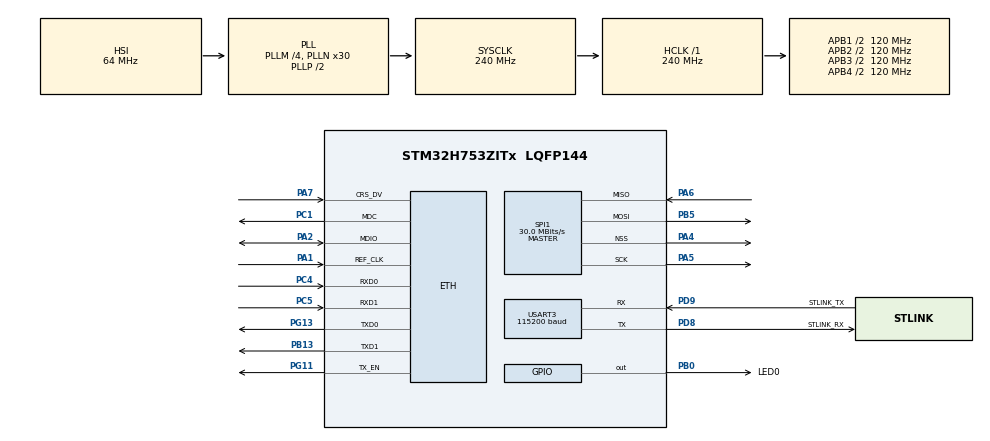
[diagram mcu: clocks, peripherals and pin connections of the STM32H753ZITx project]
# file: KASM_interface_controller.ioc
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CORTEX_M7.AccessPermission_S-Cortex_Memory_Protection_Unit_Region1_Settings_S=MPU_REGION_FULL_ACCESS
CORTEX_M7.AccessPermission_S-Cortex_Memory_Protection_Unit_Region2_Settings_S=MPU_REGION_FULL_ACCESS
CORTEX_M7.AccessPermission_Spec=MPU_REGION_NO_ACCESS
CORTEX_M7.BaseAddress_S-Cortex_Memory_Protection_Unit_Region1_Settings_S=0x30020000
CORTEX_M7.BaseAddress_S-Cortex_Memory_Protection_Unit_Region2_Settings_S=0x30040000
CORTEX_M7.BaseAddress_Spec=0x0
CORTEX_M7.CPU_DCache=Enabled
CORTEX_M7.CPU_ICache=Enabled
CORTEX_M7.DisableExec_S-Cortex_Memory_Protection_Unit_Region1_Settings_S=MPU_INSTRUCTION_ACCESS_DISABLE
CORTEX_M7.DisableExec_S-Cortex_Memory_Protection_Unit_Region2_Settings_S=MPU_INSTRUCTION_ACCESS_DISABLE
CORTEX_M7.DisableExec_Spec=MPU_INSTRUCTION_ACCESS_DISABLE
CORTEX_M7.Enable_S-Cortex_Memory_Protection_Unit_Region10_Settings_S=__NULL
CORTEX_M7.Enable_S-Cortex_Memory_Protection_Unit_Region11_Settings_S=__NULL
CORTEX_M7.Enable_S-Cortex_Memory_Protection_Unit_Region12_Settings_S=__NULL
CORTEX_M7.Enable_S-Cortex_Memory_Protection_Unit_Region13_Settings_S=__NULL
CORTEX_M7.Enable_S-Cortex_Memory_Protection_Unit_Region14_Settings_S=__NULL
CORTEX_M7.Enable_S-Cortex_Memory_Protection_Unit_Region15_Settings_S=__NULL
CORTEX_M7.Enable_S-Cortex_Memory_Protection_Unit_Region1_Settings_S=MPU_REGION_ENABLE
CORTEX_M7.Enable_S-Cortex_Memory_Protection_Unit_Region2_Settings_S=MPU_REGION_ENABLE
CORTEX_M7.Enable_S-Cortex_Memory_Protection_Unit_Region3_Settings_S=__NULL
CORTEX_M7.Enable_S-Cortex_Memory_Protection_Unit_Region4_Settings_S=__NULL
CORTEX_M7.Enable_S-Cortex_Memory_Protection_Unit_Region5_Settings_S=__NULL
CORTEX_M7.Enable_S-Cortex_Memory_Protection_Unit_Region6_Settings_S=__NULL
CORTEX_M7.Enable_S-Cortex_Memory_Protection_Unit_Region7_Settings_S=__NULL
CORTEX_M7.Enable_S-Cortex_Memory_Protection_Unit_Region8_Settings_S=__NULL
CORTEX_M7.Enable_S-Cortex_Memory_Protection_Unit_Region9_Settings_S=__NULL
CORTEX_M7.Enable_Spec=MPU_REGION_ENABLE
CORTEX_M7.IsBufferable_S-Cortex_Memory_Protection_Unit_Region1_Settings_S=MPU_ACCESS_NOT_BUFFERABLE
CORTEX_M7.IsBufferable_S-Cortex_Memory_Protection_Unit_Region2_Settings_S=MPU_ACCESS_BUFFERABLE
CORTEX_M7.IsBufferable_Spec=MPU_ACCESS_NOT_BUFFERABLE
CORTEX_M7.IsCacheable_S-Cortex_Memory_Protection_Unit_Region1_Settings_S=MPU_ACCESS_NOT_CACHEABLE
CORTEX_M7.IsCacheable_S-Cortex_Memory_Protection_Unit_Region2_Settings_S=MPU_ACCESS_NOT_CACHEABLE
CORTEX_M7.IsCacheable_Spec=MPU_ACCESS_NOT_CACHEABLE
CORTEX_M7.IsShareable_S-Cortex_Memory_Protection_Unit_Region1_Settings_S=MPU_ACCESS_NOT_SHAREABLE
CORTEX_M7.IsShareable_S-Cortex_Memory_Protection_Unit_Region2_Settings_S=MPU_ACCESS_SHAREABLE
CORTEX_M7.IsShareable_Spec=MPU_ACCESS_SHAREABLE
CORTEX_M7.MPU_Control=MPU_PRIVILEGED_DEFAULT
CORTEX_M7.Size_S-Cortex_Memory_Protection_Unit_Region1_Settings_S=MPU_REGION_SIZE_128KB
CORTEX_M7.Size_S-Cortex_Memory_Protection_Unit_Region2_Settings_S=MPU_REGION_SIZE_512B
CORTEX_M7.Size_Spec=MPU_REGION_SIZE_4GB
CORTEX_M7.SubRegionDisable_S-Cortex_Memory_Protection_Unit_Region1_Settings_S=0x0
CORTEX_M7.SubRegionDisable_S-Cortex_Memory_Protection_Unit_Region2_Settings_S=0x0
CORTEX_M7.SubRegionDisable_Spec=0x87
CORTEX_M7.TypeExtField_S-Cortex_Memory_Protection_Unit_Region1_Settings_S=MPU_TEX_LEVEL1
CORTEX_M7.TypeExtField_S-Cortex_Memory_Protection_Unit_Region2_Settings_S=MPU_TEX_LEVEL0
CORTEX_M7.TypeExtField_Spec=MPU_TEX_LEVEL0
CORTEX_M7.default_mode_Activation=1
Dma.Request0=SPI1_TX
Dma.Request1=SPI1_RX
Dma.SPI1_RX.1.Direction=DMA_PERIPH_TO_MEMORY
Dma.SPI1_RX.1.EventEnable=DISABLE
Dma.SPI1_RX.1.FIFOMode=DMA_FIFOMODE_ENABLE
Dma.SPI1_RX.1.FIFOThreshold=DMA_FIFO_THRESHOLD_FULL
Dma.SPI1_RX.1.Instance=DMA1_Stream1
Dma.SPI1_RX.1.MemBurst=DMA_MBURST_SINGLE
Dma.SPI1_RX.1.MemDataAlignment=DMA_MDATAALIGN_WORD
Dma.SPI1_RX.1.MemInc=DMA_MINC_ENABLE
Dma.SPI1_RX.1.Mode=DMA_NORMAL
Dma.SPI1_RX.1.PeriphBurst=DMA_PBURST_SINGLE
Dma.SPI1_RX.1.PeriphDataAlignment=DMA_PDATAALIGN_WORD
Dma.SPI1_RX.1.PeriphInc=DMA_PINC_DISABLE
Dma.SPI1_RX.1.Polarity=HAL_DMAMUX_REQ_GEN_RISING
Dma.SPI1_RX.1.Priority=DMA_PRIORITY_LOW
Dma.SPI1_RX.1.RequestNumber=1
Dma.SPI1_RX.1.SignalID=NONE
Dma.SPI1_RX.1.SyncEnable=DISABLE
Dma.SPI1_RX.1.SyncPolarity=HAL_DMAMUX_SYNC_NO_EVENT
Dma.SPI1_RX.1.SyncRequestNumber=1
Dma.SPI1_RX.1.SyncSignalID=NONE
Dma.SPI1_TX.0.Direction=DMA_MEMORY_TO_PERIPH
Dma.SPI1_TX.0.EventEnable=DISABLE
Dma.SPI1_TX.0.FIFOMode=DMA_FIFOMODE_ENABLE
Dma.SPI1_TX.0.FIFOThreshold=DMA_FIFO_THRESHOLD_FULL
Dma.SPI1_TX.0.Instance=DMA1_Stream0
Dma.SPI1_TX.0.MemBurst=DMA_MBURST_SINGLE
Dma.SPI1_TX.0.MemDataAlignment=DMA_MDATAALIGN_WORD
Dma.SPI1_TX.0.MemInc=DMA_MINC_ENABLE
Dma.SPI1_TX.0.Mode=DMA_NORMAL
Dma.SPI1_TX.0.PeriphBurst=DMA_PBURST_SINGLE
Dma.SPI1_TX.0.PeriphDataAlignment=DMA_PDATAALIGN_WORD
Dma.SPI1_TX.0.PeriphInc=DMA_PINC_DISABLE
Dma.SPI1_TX.0.Polarity=HAL_DMAMUX_REQ_GEN_RISING
Dma.SPI1_TX.0.Priority=DMA_PRIORITY_LOW
Dma.SPI1_TX.0.RequestNumber=1
Dma.SPI1_TX.0.SignalID=NONE
Dma.SPI1_TX.0.SyncEnable=DISABLE
Dma.SPI1_TX.0.SyncPolarity=HAL_DMAMUX_SYNC_NO_EVENT
Dma.SPI1_TX.0.SyncRequestNumber=1
Dma.SPI1_TX.0.SyncSignalID=NONE
ETH.ETH_RX_DESC_CNT=4
ETH.ETH_TX_DESC_CNT=4
ETH.MACAddr=00\:80\:E1\:00\:00\:00
ETH.MediaInterface=HAL_ETH_RMII_MODE
ETH.RxBuffLen=1536
ETH.RxBufferAddress=0x30040200
ETH.RxDescAddress=0x30040000
ETH.TxDescAddress=0x30040060
LWIP.API_LIB_DEBUG=LWIP_DBG_OFF
LWIP.API_MSG_DEBUG=LWIP_DBG_OFF
LWIP.ARP_MAXAGE=300
LWIP.ARP_QUEUEING=0
LWIP.ARP_QUEUE_LEN=3
LWIP.ARP_TABLE_SIZE=10
LWIP.AUTOIP_DEBUG=LWIP_DBG_OFF
LWIP.BSP.number=1
LWIP.CBCP_SUPPORT=0
LWIP.CCP_SUPPORT=0
LWIP.CHAP_DEFTIMEOUT=6
LWIP.CHAP_DEFTRANSMITS=10
LWIP.CHAP_SUPPORT=0
LWIP.CHECKSUM_BY_HARDWARE=1
LWIP.CHECKSUM_CHECK_ICMP=1
LWIP.CHECKSUM_CHECK_ICMP6=0
LWIP.CHECKSUM_CHECK_IP=0
LWIP.CHECKSUM_CHECK_TCP=0
LWIP.CHECKSUM_CHECK_UDP=0
LWIP.CHECKSUM_GEN_ICMP=1
LWIP.CHECKSUM_GEN_ICMP6=0
LWIP.CHECKSUM_GEN_IP=0
LWIP.CHECKSUM_GEN_TCP=0
LWIP.CHECKSUM_GEN_UDP=0
LWIP.CMSIS_VERSION-Enabled=1
LWIP.DEFAULT_ACCEPTMBOX_SIZE=6
LWIP.DEFAULT_RAW_RECVMBOX_SIZE=0
LWIP.DEFAULT_TCP_RECVMBOX_SIZE=6
LWIP.DEFAULT_THREAD_NAME="lwIP"
LWIP.DEFAULT_THREAD_PRIO=3
LWIP.DEFAULT_THREAD_STACKSIZE=1024
LWIP.DEFAULT_UDP_RECVMBOX_SIZE=6
LWIP.DEMAND_SUPPORT=0
LWIP.DHCP6_DEBUG=LWIP_DBG_OFF
LWIP.DHCP_DEBUG=LWIP_DBG_OFF
LWIP.DHCP_DOES_ARP_CHECK=1
LWIP.DNS_DEBUG=LWIP_DBG_OFF
LWIP.DNS_DOES_NAME_CHECK=1
LWIP.DNS_LOCAL_HOSTLIST=0
LWIP.DNS_LOCAL_HOSTLIST_IS_DYNAMIC=0
LWIP.DNS_MAX_NAME_LENGTH=256
LWIP.DNS_MAX_RETRIES=4
LWIP.DNS_MAX_SERVERS=2
LWIP.DNS_TABLE_SIZE=4
LWIP.EAP_DEFALLOWREQ=10
LWIP.EAP_DEFREQTIME=6
LWIP.EAP_SUPPORT=0
LWIP.ECP_SUPPORT=0
LWIP.ETHARP_DEBUG=LWIP_DBG_OFF
LWIP.ETHARP_STATS=0
LWIP.ETHARP_SUPPORT_STATIC_ENTRIES=0
LWIP.ETHARP_SUPPORT_VLAN=0
LWIP.ETHARP_TABLE_MATCH_NETIF=1
LWIP.ETH_PAD_SIZE=0
LWIP.ETH_RX_BUFFER_CNT=10
LWIP.FSM_DEFMAXCONFREQS=10
LWIP.FSM_DEFMAXNAKLOOPS=5
LWIP.FSM_DEFMAXTERMREQS=2
LWIP.FSM_DEFTIMEOUT=6
LWIP.HTTPD_DEBUG=LWIP_DBG_OFF
LWIP.HTTPD_DEBUG_TIMING=LWIP_DBG_OFF
LWIP.ICMP6_STATS=0
LWIP.ICMP_DEBUG=LWIP_DBG_OFF
LWIP.ICMP_STATS=0
LWIP.ICMP_TTL=255
LWIP.IGMP_DEBUG=LWIP_DBG_OFF
LWIP.IGMP_STATS=0
LWIP.INET_DEBUG=LWIP_DBG_OFF
LWIP.IP6_DEBUG=LWIP_DBG_OFF
LWIP.IP6_FRAG_STATS=0
LWIP.IP6_STATS=0
LWIP.IPFRAG_STATS=0
LWIP.IPV6_REASS_MAXAGE=60
LWIP.IP_ADDRESS=010.022.247.108
LWIP.IP_DEBUG=LWIP_DBG_OFF
LWIP.IP_DEFAULT_TTL=255
LWIP.IP_FORWARD=0
LWIP.IP_FORWARD_ALLOW_TX_ON_RX_NETIF=0
LWIP.IP_FRAG=1
LWIP.IP_OPTIONS_ALLOWED=1
LWIP.IP_REASSEMBLY=1
LWIP.IP_REASS_DEBUG=LWIP_DBG_OFF
LWIP.IP_REASS_MAXAGE=15
LWIP.IP_REASS_MAX_PBUFS=10
LWIP.IP_SOF_BROADCAST=0
LWIP.IP_SOF_BROADCAST_RECV=0
LWIP.IP_STATS=0
LWIP.LCP_DEFLOOPBACKFAIL=10
LWIP.LCP_ECHOINTERVAL=0
LWIP.LCP_MAXECHOFAILS=3
LWIP.LINK_STATS=0
LWIP.LQR_SUPPORT=0
LWIP.LWIP_ALLOW_MEM_FREE_FROM_OTHER_CONTEXT=0
LWIP.LWIP_ALTCP=0
LWIP.LWIP_ALTCP_TLS=0
LWIP.LWIP_ARP=1
LWIP.LWIP_AUTOIP=0
LWIP.LWIP_BROADCAST_PING=0
LWIP.LWIP_CALLBACK_API=1
LWIP.LWIP_CHECKSUM_CTRL_PER_NETIF=0
LWIP.LWIP_CHECKSUM_ON_COPY=0
LWIP.LWIP_COMPAT_SOCKETS=1
LWIP.LWIP_DBG_MIN_LEVEL=LWIP_DBG_LEVEL_ALL
LWIP.LWIP_DBG_TYPES_ON=LWIP_DBG_ON
LWIP.LWIP_DHCP=1
LWIP.LWIP_DHCP6_GET_NTP_SRV=0
LWIP.LWIP_DHCP6_MAX_DNS_SERVERS=2
LWIP.LWIP_DHCP6_MAX_NTP_SERVERS=1
LWIP.LWIP_DHCP_AUTOIP_COOP=0
LWIP.LWIP_DHCP_AUTOIP_COOP_TRIES=9
LWIP.LWIP_DHCP_BOOTP_FILE=0
LWIP.LWIP_DHCP_GET_NTP_SRV=0
LWIP.LWIP_DHCP_MAX_DNS_SERVERS=2
LWIP.LWIP_DHCP_MAX_NTP_SERVERS=1
LWIP.LWIP_DISABLE_MEMP_SANITY_CHECKS=0
LWIP.LWIP_DISABLE_TCP_SANITY_CHECKS=0
LWIP.LWIP_DNS=0
LWIP.LWIP_DNS_SECURE=7
LWIP.LWIP_DNS_SUPPORT_MDNS_QUERIES=0
LWIP.LWIP_ETHERNET=1
LWIP.LWIP_EVENT_API=0
LWIP.LWIP_HAVE_LOOPIF=0
LWIP.LWIP_HTTPD=0
LWIP.LWIP_ICMP=1
LWIP.LWIP_ICMP6=0
LWIP.LWIP_ICMP6_DATASIZE=8
LWIP.LWIP_ICMP6_HL=255
LWIP.LWIP_IGMP=0
LWIP.LWIP_INCLUDED_POLARSSL_ARC4=0
LWIP.LWIP_INCLUDED_POLARSSL_DES=0
LWIP.LWIP_INCLUDED_POLARSSL_MD4=0
LWIP.LWIP_INCLUDED_POLARSSL_MD5=0
LWIP.LWIP_INCLUDED_POLARSSL_SHA1=0
LWIP.LWIP_IPV4=1
LWIP.LWIP_IPV6=0
LWIP.LWIP_IPV6_ADDRESS_LIFETIMES=0
LWIP.LWIP_IPV6_AUTOCONFIG=0
LWIP.LWIP_IPV6_DHCP6=0
LWIP.LWIP_IPV6_DHCP6_STATEFUL=0
LWIP.LWIP_IPV6_DHCP6_STATELESS=0
LWIP.LWIP_IPV6_DUP_DETECT_ATTEMPTS=1
LWIP.LWIP_IPV6_FORWARD=0
LWIP.LWIP_IPV6_FRAG=1
LWIP.LWIP_IPV6_MLD=0
LWIP.LWIP_IPV6_NUM_ADDRESSES=3
LWIP.LWIP_IPV6_REASS=0
LWIP.LWIP_IPV6_SCOPES=0
LWIP.LWIP_IPV6_SCOPES_DEBUG=0
LWIP.LWIP_IPV6_SEND_ROUTER_SOLICIT=1
LWIP.LWIP_LOOPBACK_MAX_PBUFS=0
LWIP.LWIP_LOOPIF_MULTICAST=0
LWIP.LWIP_MDNS=0
LWIP.LWIP_MIB2_CALLBACKS=0
LWIP.LWIP_MPU_COMPATIBLE=0
LWIP.LWIP_MULTICAST_PING=0
LWIP.LWIP_MULTICAST_TX_OPTIONS=0
LWIP.LWIP_ND6_ALLOW_RA_UPDATES=1
LWIP.LWIP_ND6_DELAY_FIRST_PROBE_TIME=5000
LWIP.LWIP_ND6_MAX_ANYCAST_DELAY_TIME=1000
LWIP.LWIP_ND6_MAX_MULTICAST_SOLICIT=3
LWIP.LWIP_ND6_MAX_NEIGHBOR_ADVERTISEMENT=3
LWIP.LWIP_ND6_MAX_UNICAST_SOLICIT=3
LWIP.LWIP_ND6_NUM_DESTINATIONS=10
LWIP.LWIP_ND6_NUM_NEIGHBORS=10
LWIP.LWIP_ND6_NUM_PREFIXES=5
LWIP.LWIP_ND6_NUM_ROUTERS=3
LWIP.LWIP_ND6_QUEUEING=0
LWIP.LWIP_ND6_RDNSS_MAX_DNS_SERVERS=0
LWIP.LWIP_ND6_REACHABLE_TIME=30000
LWIP.LWIP_ND6_RETRANS_TIMER=1000
LWIP.LWIP_ND6_TCP_REACHABILITY_HINTS=1
LWIP.LWIP_NETBUF_RECVINFO=0
LWIP.LWIP_NETIF_API=0
LWIP.LWIP_NETIF_EXT_STATUS_CALLBACK=0
LWIP.LWIP_NETIF_HOSTNAME=0
LWIP.LWIP_NETIF_HWADDRHINT=0
LWIP.LWIP_NETIF_LINK_CALLBACK=1
LWIP.LWIP_NETIF_LOOPBACK=1
LWIP.LWIP_NETIF_LOOPBACK_MULTITHREADING=0
LWIP.LWIP_NETIF_REMOVE_CALLBACK=0
LWIP.LWIP_NETIF_STATUS_CALLBACK=0
LWIP.LWIP_NETIF_TX_SINGLE_PBUF=0
LWIP.LWIP_NUM_NETIF_CLIENT_DATA=0
LWIP.LWIP_PBUF_REF_T=u8_t
LWIP.LWIP_PERF=0
LWIP.LWIP_PPP_API=0
LWIP.LWIP_RAM_HEAP_POINTER=0x30020000
LWIP.LWIP_RAW=0
LWIP.LWIP_SINGLE_NETIF=0
LWIP.LWIP_SMTP=0
LWIP.LWIP_SNMP=0
LWIP.LWIP_SNMP_CONFIGURE_VERSIONS=0
LWIP.LWIP_SNMP_V3=0
LWIP.LWIP_SNMP_V3_CRYPTO=0
LWIP.LWIP_SNMP_V3_MBEDTLS=0
LWIP.LWIP_SNTP=0
LWIP.LWIP_SOCKET=0
LWIP.LWIP_SOCKET_OFFSET=0
LWIP.LWIP_STATS=0
LWIP.LWIP_STATS_DISPLAY=0
LWIP.LWIP_SUPPORT_CUSTOM_PBUF=1
LWIP.LWIP_TCP=1
LWIP.LWIP_TCPIP_CORE_LOCKING=0
LWIP.LWIP_TCPIP_CORE_LOCKING_INPUT=0
LWIP.LWIP_TCP_CLOSE_TIMEOUT_MS_DEFAULT=20000
LWIP.LWIP_TCP_MAX_SACK_NUM=4
LWIP.LWIP_TCP_PCB_NUM_EXT_ARGS=0
LWIP.LWIP_TCP_SACK_OUT=0
LWIP.LWIP_TCP_TIMESTAMPS=0
LWIP.LWIP_TESTMODE=0
LWIP.LWIP_TFTP=0
LWIP.LWIP_TIMERS=1
LWIP.LWIP_TIMERS_CUSTOM=0
LWIP.LWIP_UDP=1
LWIP.LWIP_UDPLITE=0
LWIP.LWIP_USE_EXTERNAL_MBEDTLS=0
LWIP.LWIP_USE_EXTERNAL_POLARSSL=0
LWIP.LWIP_WND_SCALE=0
LWIP.MAXNAMELEN=256
LWIP.MAXSECRETLEN=256
LWIP.MDNS_DEBUG=LWIP_DBG_OFF
LWIP.MEMP_DEBUG=LWIP_DBG_OFF
LWIP.MEMP_MEM_INIT=0
LWIP.MEMP_MEM_MALLOC=0
LWIP.MEMP_NUM_API_MSG=8
LWIP.MEMP_NUM_ARP_QUEUE=30
LWIP.MEMP_NUM_DNS_API_MSG=8
LWIP.MEMP_NUM_FRAG_PBUF=15
LWIP.MEMP_NUM_IGMP_GROUP=8
LWIP.MEMP_NUM_LOCALHOSTLIST=1
LWIP.MEMP_NUM_MLD6_GROUP=4
LWIP.MEMP_NUM_ND6_QUEUE=20
LWIP.MEMP_NUM_NETBUF=2
LWIP.MEMP_NUM_NETCONN=4
LWIP.MEMP_NUM_NETDB=1
LWIP.MEMP_NUM_NETIFAPI_MSG=8
LWIP.MEMP_NUM_PBUF=16
LWIP.MEMP_NUM_PPPOE_INTERFACES=1
LWIP.MEMP_NUM_PPPOL2TP_INTERFACES=1
LWIP.MEMP_NUM_PPPOS_INTERFACES=1
LWIP.MEMP_NUM_PPP_API_MSG=5
LWIP.MEMP_NUM_PPP_PCB=1
LWIP.MEMP_NUM_RAW_PCB=4
LWIP.MEMP_NUM_REASSDATA=5
LWIP.MEMP_NUM_SELECT_CB=4
LWIP.MEMP_NUM_SOCKET_SETGETSOCKOPT_DATA=8
LWIP.MEMP_NUM_SYS_TIMEOUT=5
LWIP.MEMP_NUM_TCPIP_MSG_API=8
LWIP.MEMP_NUM_TCPIP_MSG_INPKT=8
LWIP.MEMP_NUM_TCP_PCB=5
LWIP.MEMP_NUM_TCP_PCB_LISTEN=8
LWIP.MEMP_NUM_TCP_SEG=16
LWIP.MEMP_NUM_UDP_PCB=4
LWIP.MEMP_OVERFLOW_CHECK=0
LWIP.MEMP_SANITY_CHECK=0
LWIP.MEMP_STATS=0
LWIP.MEMP_USE_CUSTOM_POOLS=0
LWIP.MEM_ALIGNMENT=4
LWIP.MEM_DEBUG=LWIP_DBG_OFF
LWIP.MEM_LIBC_MALLOC=0
LWIP.MEM_OVERFLOW_CHECK=0
LWIP.MEM_SANITY_CHECK=0
LWIP.MEM_SIZE=16360
LWIP.MEM_STATS=0
LWIP.MEM_USE_POOLS=0
LWIP.MEM_USE_POOLS_TRY_BIGGER_POOL=0
LWIP.MIB2_STATS=0
LWIP.MLD6_STATS=0
LWIP.MPPE_SUPPORT=0
LWIP.MSCHAP_SUPPORT=0
LWIP.ND6_STATS=0
LWIP.NETIF_DEBUG=LWIP_DBG_OFF
LWIP.NETMASK_ADDRESS=255.255.255.000
LWIP.NO_SYS=1
LWIP.PAP_SUPPORT=0
LWIP.PBUF_DEBUG=LWIP_DBG_OFF
LWIP.PBUF_LINK_ENCAPSULATION_HLEN=0
LWIP.PBUF_LINK_HLEN=14
LWIP.PBUF_POOL_BUFSIZE=592
LWIP.PBUF_POOL_SIZE=16
LWIP.PPPOE_SUPPORT=0
LWIP.PPPOL2TP_AUTH_SUPPORT=0
LWIP.PPPOL2TP_SUPPORT=0
LWIP.PPPOS_SUPPORT=0
LWIP.PPP_DEBUG=LWIP_DBG_OFF
LWIP.PPP_DEFMRU=1500
LWIP.PPP_FCS_TABLE=1
LWIP.PPP_INPROC_IRQ_SAFE=0
LWIP.PPP_IPV4_SUPPORT=1
LWIP.PPP_IPV6_SUPPORT=0
LWIP.PPP_MAXIDLEFLAG=100
LWIP.PPP_MAXMRU=1500
LWIP.PPP_MD5_RANDM=0
LWIP.PPP_MINMRU=128
LWIP.PPP_MRU=1500
LWIP.PPP_NOTIFY_PHASE=0
LWIP.PPP_NUM_TIMEOUTS=0
LWIP.PPP_NUM_TIMEOUTS_PER_PCB=2
LWIP.PPP_SERVER=0
LWIP.PPP_SUPPORT=0
LWIP.PPP_USE_PBUF_RAM=0
LWIP.PRINTPKT_SUPPORT=0
LWIP.RAW_DEBUG=LWIP_DBG_OFF
LWIP.RAW_TTL=255
LWIP.RECV_BUFSIZE_DEFAULT=2000000000
LWIP.SLIPIF_THREAD_NAME="slipif_loop"
LWIP.SLIPIF_THREAD_PRIO=3
LWIP.SLIPIF_THREAD_STACKSIZE=1024
LWIP.SLIP_DEBUG=LWIP_DBG_OFF
LWIP.SMTP_DEBUG=LWIP_DBG_OFF
LWIP.SNMP_DEBUG=LWIP_DBG_OFF
LWIP.SNMP_LWIP_MIB2=0
LWIP.SNMP_MIB_DEBUG=LWIP_DBG_OFF
LWIP.SNMP_USE_NETCONN=0
LWIP.SNMP_USE_RAW=1
LWIP.SNTP_DEBUG=LWIP_DBG_OFF
LWIP.SOCKETS_DEBUG=LWIP_DBG_OFF
LWIP.SYS_DEBUG=LWIP_DBG_OFF
LWIP.SYS_LIGHTWEIGHT_PROT=0
LWIP.SYS_STATS=0
LWIP.TCPIP_DEBUG=LWIP_DBG_OFF
LWIP.TCPIP_MBOX_SIZE=6
LWIP.TCPIP_THREAD_NAME="tcpip_thread"
LWIP.TCPIP_THREAD_PRIO=24
LWIP.TCPIP_THREAD_STACKSIZE=1024
LWIP.TCP_CALCULATE_EFF_SEND_MSS=1
LWIP.TCP_CWND_DEBUG=LWIP_DBG_OFF
LWIP.TCP_DEBUG=LWIP_DBG_OFF
LWIP.TCP_DEFAULT_LISTEN_BACKLOG=255
LWIP.TCP_FR_DEBUG=LWIP_DBG_OFF
LWIP.TCP_INPUT_DEBUG=LWIP_DBG_OFF
LWIP.TCP_LISTEN_BACKLOG=0
LWIP.TCP_MAXRTX=12
LWIP.TCP_MSS=536
LWIP.TCP_OOSEQ_BYTES_LIMIT(pcb)=0
LWIP.TCP_OOSEQ_MAX_BYTES=0
LWIP.TCP_OOSEQ_MAX_PBUFS=0
LWIP.TCP_OOSEQ_PBUFS_LIMIT(pcb)=0
LWIP.TCP_OUTPUT_DEBUG=LWIP_DBG_OFF
LWIP.TCP_OVERSIZE=TCP_MSS
LWIP.TCP_QLEN_DEBUG=LWIP_DBG_OFF
LWIP.TCP_QUEUE_OOSEQ=1
LWIP.TCP_RCV_SCALE=0
LWIP.TCP_RST_DEBUG=LWIP_DBG_OFF
LWIP.TCP_RTO_DEBUG=LWIP_DBG_OFF
LWIP.TCP_SNDLOWAT=1071
LWIP.TCP_SNDQUEUELOWAT=5
LWIP.TCP_SND_BUF=1072
LWIP.TCP_SND_QUEUELEN=9
LWIP.TCP_STATS=0
LWIP.TCP_SYNMAXRTX=6
LWIP.TCP_TTL=255
LWIP.TCP_WND=2144
LWIP.TCP_WND_DEBUG=LWIP_DBG_OFF
LWIP.TCP_WND_UPDATE_THRESHOLD=536
LWIP.TFTP_DEBUG=LWIP_DBG_OFF
LWIP.TIMERS_DEBUG=LWIP_DBG_OFF
LWIP.UDP_DEBUG=LWIP_DBG_OFF
LWIP.UDP_STATS=0
LWIP.UDP_TTL=255
LWIP.UPAP_DEFREQTIME=30
LWIP.UPAP_DEFTIMEOUT=6
LWIP.UPAP_DEFTRANSMITS=10
LWIP.VJ_SUPPORT=0
LWIP.Version=v2.1.2_Cube
LWIP0.BSP.STBoard=false
LWIP0.BSP.api=BSP_COMPONENT_DRIVER
LWIP0.BSP.component=LAN8742
LWIP0.BSP.instance=LAN8742
LWIP0.BSP.name=Driver_PHY
LWIP0.BSP.semaphore=S_LAN8742
LWIP0.BSP.solution=LAN8742
Mcu.Family=STM32H7
Mcu.Name=STM32H753ZITx
Mcu.Package=LQFP144
NVIC.DMA1_Stream0_IRQn=true\:0\:0\:false\:false\:true\:false\:true\:true
NVIC.DMA1_Stream1_IRQn=true\:0\:0\:false\:false\:true\:false\:true\:true
NVIC.ETH_IRQn=true\:6\:0\:true\:false\:true\:true\:true\:true
NVIC.PriorityGroup=NVIC_PRIORITYGROUP_4
NVIC.SPI1_IRQn=true\:5\:0\:true\:false\:true\:true\:true\:true
NVIC.TIM2_IRQn=true\:10\:0\:true\:false\:true\:true\:true\:true
NVIC.TIM6_DAC_IRQn=true\:15\:0\:false\:false\:true\:false\:true\:true
NVIC.TimeBase=TIM6_DAC_IRQn
NVIC.TimeBaseIP=TIM6
PA1.GPIO_Speed_Default_HIGH=GPIO_SPEED_FREQ_VERY_HIGH
PA1.Mode=RMII
PA1.Signal=ETH_REF_CLK
PA2.GPIO_Speed_Default_HIGH=GPIO_SPEED_FREQ_VERY_HIGH
PA2.Mode=RMII
PA2.Signal=ETH_MDIO
PA4.GPIO_Speed=GPIO_SPEED_FREQ_LOW
PA4.Mode=NSS_Signal_Hard_Output
PA4.Signal=SPI1_NSS
PA5.GPIO_Speed=GPIO_SPEED_FREQ_LOW
PA5.Mode=Full_Duplex_Master
PA5.Signal=SPI1_SCK
PA6.GPIO_Speed=GPIO_SPEED_FREQ_LOW
PA6.Mode=Full_Duplex_Master
PA6.Signal=SPI1_MISO
PA7.GPIO_Speed_Default_HIGH=GPIO_SPEED_FREQ_VERY_HIGH
PA7.Mode=RMII
PA7.Signal=ETH_CRS_DV
PB0.GPIO_Label=LED0
PB0.Signal=GPIO_Output
PB13.GPIO_Speed_Default_HIGH=GPIO_SPEED_FREQ_VERY_HIGH
PB13.Mode=RMII
PB13.Signal=ETH_TXD1
PB5.GPIO_Speed=GPIO_SPEED_FREQ_LOW
PB5.Mode=Full_Duplex_Master
PB5.Signal=SPI1_MOSI
PC1.GPIO_Speed_Default_HIGH=GPIO_SPEED_FREQ_VERY_HIGH
PC1.Mode=RMII
PC1.Signal=ETH_MDC
PC14-OSC32_IN\ (OSC32_IN).Signal=RCC_OSC32_IN
PC15-OSC32_OUT\ (OSC32_OUT).Signal=RCC_OSC32_OUT
PC4.GPIO_Speed_Default_HIGH=GPIO_SPEED_FREQ_VERY_HIGH
PC4.Mode=RMII
PC4.Signal=ETH_RXD0
PC5.GPIO_Speed_Default_HIGH=GPIO_SPEED_FREQ_VERY_HIGH
PC5.Mode=RMII
PC5.Signal=ETH_RXD1
PD8.GPIO_Label=STLINK_RX
PD8.Mode=Asynchronous
PD8.Signal=USART3_TX
PD9.GPIO_Label=STLINK_TX
PD9.Mode=Asynchronous
PD9.Signal=USART3_RX
PG11.GPIO_Speed_Default_HIGH=GPIO_SPEED_FREQ_VERY_HIGH
PG11.Mode=RMII
PG11.Signal=ETH_TX_EN
PG13.GPIO_Speed_Default_HIGH=GPIO_SPEED_FREQ_VERY_HIGH
PG13.Mode=RMII
PG13.Signal=ETH_TXD0
PH0-OSC_IN\ (PH0).Mode=HSE-External-Clock-Source
PH0-OSC_IN\ (PH0).Signal=RCC_OSC_IN
PH1-OSC_OUT\ (PH1).Signal=RCC_OSC_OUT
ProjectManager.HeapSize=0x400
ProjectManager.StackSize=0x2000
ProjectManager.TargetToolchain=STM32CubeIDE
RCC.ADCFreq_Value=240000000
RCC.APB1Freq_Value=120000000
RCC.APB2Freq_Value=120000000
RCC.APB3Freq_Value=120000000
RCC.APB4Freq_Value=120000000
RCC.CortexFreq_Value=240000000
RCC.D1PPRE=RCC_APB3_DIV2
RCC.D2PPRE1=RCC_APB1_DIV2
RCC.D2PPRE2=RCC_APB2_DIV2
RCC.D3PPRE=RCC_APB4_DIV2
RCC.DIVM1=4
RCC.DIVM2=4
RCC.DIVN1=30
RCC.DIVN2=30
RCC.DIVQ1=4
RCC.DIVQ2=4
RCC.FLatency=FLASH_LATENCY_4
RCC.HCLKFreq_Value=240000000
RCC.PLLFRACN=0
RCC.PWR_Regulator_Voltage_Scale=PWR_REGULATOR_VOLTAGE_SCALE0
RCC.SYSCLKFreq_VALUE=240000000
RCC.SYSCLKSource=RCC_SYSCLKSOURCE_PLLCLK
RCC.Spi45ClockSelection=RCC_SPI45CLKSOURCE_PLL2
RCC.USBFreq_Value=120000000
SPI1.BaudRatePrescaler=SPI_BAUDRATEPRESCALER_4
SPI1.CLKPhase=SPI_PHASE_2EDGE
SPI1.CalculateBaudRate=30.0 MBits/s
SPI1.DataSize=SPI_DATASIZE_24BIT
SPI1.Direction=SPI_DIRECTION_2LINES
SPI1.Mode=SPI_MODE_MASTER
SPI1.VirtualNSS=VM_NSSHARD
SPI1.VirtualType=VM_MASTER
TIM2.Period=240000-1
USART3.AutoBaudRateEnableParam=UART_ADVFEATURE_AUTOBAUDRATE_DISABLE
USART3.BaudRate=115200
USART3.ClockPrescaler=PRESCALER_DIV1
USART3.DMADisableonRxErrorParam=ADVFEATURE_DMA_ENABLEONRXERROR
USART3.DataInvertParam=ADVFEATURE_DATAINV_DISABLE
USART3.FIFOMode=FIFOMODE_DISABLE
USART3.MSBFirstParam=ADVFEATURE_MSBFIRST_DISABLE
USART3.Mode=MODE_TX_RX
USART3.OneBitSampling=UART_ONE_BIT_SAMPLE_DISABLE
USART3.OverSampling=UART_OVERSAMPLING_16
USART3.OverrunDisableParam=ADVFEATURE_OVERRUN_ENABLE
USART3.Parity=PARITY_NONE
USART3.RXFIFOThreshold=RXFIFO_THRESHOLD_1EIGHTHFULL
USART3.RxPinLevelInvertParam=ADVFEATURE_RXINV_DISABLE
USART3.StopBits=STOPBITS_1
USART3.SwapParam=ADVFEATURE_SWAP_DISABLE
USART3.TXFIFOThreshold=TXFIFO_THRESHOLD_1EIGHTHFULL
USART3.TxPinLevelInvertParam=ADVFEATURE_TXINV_DISABLE
USART3.VirtualMode-Asynchronous=VM_ASYNC
USART3.WordLength=WORDLENGTH_8B
VP_LWIP_VS_Enabled.Mode=Enabled
VP_MEMORYMAP_VS_MEMORYMAP.Mode=CurAppReg
VP_SYS_VS_tim6.Mode=TIM6
VP_TIM2_VS_ClockSourceINT.Mode=Internal
board=NUCLEO-H753ZI

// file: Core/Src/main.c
/* USER CODE BEGIN Header */
/**
  ******************************************************************************
  * @file           : main.c
  * @brief          : Main program body
  ******************************************************************************
  * @attention
  *
  * Copyright (c) 2026 STMicroelectronics.
  * All rights reserved.
  *
  * This software is licensed under terms that can be found in the LICENSE file
  * in the root directory of this software component.
  * If no LICENSE file comes with this software, it is provided AS-IS.
  *
  ******************************************************************************
  */
/* USER CODE END Header */
#include "main.h"
#include "lwip.h"

/* USER CODE BEGIN Includes */
#include "dac80508.h"
#include "print_uart3.h"
#include <string.h>

/* USER CODE END Includes */

/* USER CODE BEGIN PD */
#define UDP_BUFFER_SIZE 510 //bytes--largest value < 512 that is divisible by 3
#define SPI_BUFFER_SIZE_WORDS 10
#define SPI_BUFFER_SIZE_BYTES (SPI_BUFFER_SIZE_WORDS*3)
#define DAC_ZERO (1<<16)/2
#define COM_VERSION 0
#define UDP_LENGTH 35
#define UDP_EOM 0xdead
//#define TESTING

/* USER CODE END PD */

TIM_HandleTypeDef htim2;

UART_HandleTypeDef huart3;

/* USER CODE BEGIN PV */

extern struct netif gnetif;

struct DAC80508_Config dac_config;

typedef struct cmd_frame{
	uint8_t address;  // which DAC
	uint16_t value;
}cmd_frame;

typedef struct command{
    uint8_t version;   // Protocol version
    uint32_t seconds; // Timestamp in seconds since app start
    uint32_t nanoseconds; // Timestamp nanoseconds
    frame_t frame[DAC80508_NUM_CHANNELS];
    uint16_t end;
} command_t;

uint8_t spi_buffer_length_bytes = SPI_BUFFER_SIZE_BYTES;

uint32_t spi_msg_size = 0; //used for signaling the current spi message size in the DMA section

/* SPI buffers */
// Use compiler attributes to align to 32 bytes and pad the size to a multiple of 32

__attribute__((section(".dma_buffer"), used))   uint32_t spi1_tx_buffer[SPI_BUFFER_SIZE_WORDS];
__attribute__((section(".dma_buffer"), used))   uint32_t spi1_rx_buffer[SPI_BUFFER_SIZE_WORDS];

volatile uint8_t spi_txfer_complete = 0; // All DMA SPI transfers are complete
volatile uint8_t spi_data_ready = 0; // flag to indicate SPI data is ready for processing

uint32_t sys_time_ms = 0;
uint32_t start = 0;
uint32_t end = 0;

/* USER CODE END PV */

void SystemClock_Config(void);
static void MPU_Config(void);
static void MX_GPIO_Init(void);
static void MX_DMA_Init(void);
static void MX_SPI1_Init(void);
static void MX_USART3_UART_Init(void);
static void MX_TIM2_Init(void);
/* USER CODE BEGIN PFP */

int DAC80508_init(const struct DAC80508_Config *config, uint32_t *tx_buffer);
int DAC80508_verify(uint32_t *tx_buffer);

/**
 * @brief sends 8 consecutive SPI frames to update all DAC channels.
 * @param value_array Pointer to 8 uint16_t values.
 * @param tx_buffer Buffer to hold 24 bytes (8 channels * 3 bytes).
 */
int DAC80508_set_outputs(uint16_t *value_array, uint32_t *tx_buffer);

/**
 * @brief broadcast the same value to all outputs.
 * @param value: uint16_t values.
 * @param tx_buffer: SPI transmit buffer.
 */
int DAC80508_broadcast_verify(uint16_t value, uint32_t *tx_buffer);

void SPI1_DMA_txfer(void);
void deserialize_command(const uint8_t *buffer, command_t *out_cmd); // parses the byte stream into command
void udp_receive_callback(void *arg, // User argument - udp_recv `arg` parameter
		struct udp_pcb *upcb,   // Receiving Protocol Control Block
		struct pbuf *p,         // Pointer to Datagram
		const ip_addr_t *addr,  // Address of sender
		u16_t port);

uint32_t sys_time(void);

/* USER CODE END PFP */

int main(void)
{

  /* MPU Configuration--------------------------------------------------------*/
  MPU_Config();

  /* Enable the CPU Cache */

  /* Enable I-Cache---------------------------------------------------------*/
  SCB_EnableICache();

  /* Enable D-Cache---------------------------------------------------------*/
  SCB_EnableDCache();

  /* MCU Configuration--------------------------------------------------------*/

  /* Reset of all peripherals, Initializes the Flash interface and the Systick. */
  HAL_Init();

  /* USER CODE BEGIN Init */
	dac_config.use_internal_ref = false;
	dac_config.div_internal_ref = true;
	dac_config.sync_mask = 0xff00; // broadcast enabled on all channels, sync disabled all channels
	dac_config.channel_gain_mask = 0x0ff; // gain of 2 for all channels.

  /* USER CODE END Init */

  /* Configure the system clock */
  SystemClock_Config();

  /* Initialize all configured peripherals */
  MX_GPIO_Init();
  MX_DMA_Init();
  MX_LWIP_Init();
  MX_SPI1_Init();
  MX_USART3_UART_Init();
  MX_TIM2_Init();
  /* USER CODE BEGIN 2 */

	HAL_TIM_Base_Start_IT(&htim2);
	memset(&spi1_tx_buffer, 0, sizeof(spi1_tx_buffer));
	memset(&spi1_rx_buffer, 0, sizeof(spi1_rx_buffer));

	char msg[1024] = { 0 };

	print_uart3("Starting KASM Interface\r\n");

	/*wait for IP address to be assigned. DHCP can take a few seconds*/

	char no_ip[] = "0.0.0.0";

	print_uart3("Waiting for IP address to be assigned\r\n");

	while (strcmp(no_ip, ip4addr_ntoa(netif_ip4_addr(&gnetif))) == 0) {
		MX_LWIP_Process();
	}

	/* Determine IP address */
	sprintf(msg, "IP address: %s\r\n", ip4addr_ntoa(netif_ip4_addr(&gnetif)));
	print_uart3(msg);
	sprintf(msg, "Netmask: %s\r\n", ip4addr_ntoa(netif_ip4_netmask(&gnetif)));
	print_uart3(msg);
	sprintf(msg, "Gateway: %s\r\n", ip4addr_ntoa(netif_ip4_gw(&gnetif)));
	print_uart3(msg);

	u16_t port = 5001; // port to listen from

	struct udp_pcb *my_udp = udp_new();

	udp_bind(my_udp, IP_ADDR_ANY, port);
	udp_recv(my_udp, udp_receive_callback, NULL);
	if (((uint32_t) spi1_tx_buffer & 0xFF000000) != 0x30000000) {
		sprintf(msg, "Buffer not in RAM D2: %lu\r\n",
				(uint32_t) spi1_tx_buffer);
		print_uart3(msg);
	}

	/* initialize the DAC */
	DAC80508_init(&dac_config, spi1_tx_buffer);
	sprintf(msg, "DAC initialized\r\n");
	print_uart3(msg);

	DAC80508_verify(spi1_tx_buffer);

  /* USER CODE END 2 */

  /* Infinite loop */
  /* USER CODE BEGIN WHILE */
	while (1) {
		MX_LWIP_Process();

		if (spi_data_ready == 1) {
#ifdef TESTING
			sprintf(msg, "Sending %lu bytes via SPI1 \r\n", spi_msg_size);
			print_uart3(msg);
#endif
			SPI1_DMA_txfer();
			spi_data_ready = 0;
		}
		if (spi_txfer_complete == 1) {

			/* read returned bytes */
#ifdef TESTING
			for (int i = 0; i < spi_msg_size; i++) {
				sprintf(msg, "DAC[%d] : %06lX \r\n", i, spi1_rx_buffer[i]);
				print_uart3(msg);
			}
#endif
			spi_txfer_complete = 0;
			spi_msg_size=0; // reset msg size
		}
    /* USER CODE END WHILE */

	}
}

void SystemClock_Config(void)
{
  RCC_OscInitTypeDef RCC_OscInitStruct = {0};
  RCC_ClkInitTypeDef RCC_ClkInitStruct = {0};

  /** Supply configuration update enable
  */
  HAL_PWREx_ConfigSupply(PWR_LDO_SUPPLY);

  /** Configure the main internal regulator output voltage
  */
  __HAL_PWR_VOLTAGESCALING_CONFIG(PWR_REGULATOR_VOLTAGE_SCALE0);

  while(!__HAL_PWR_GET_FLAG(PWR_FLAG_VOSRDY)) {}

  /** Initializes the RCC Oscillators according to the specified parameters
  * in the RCC_OscInitTypeDef structure.
  */
  RCC_OscInitStruct.OscillatorType = RCC_OSCILLATORTYPE_HSI;
  RCC_OscInitStruct.HSIState = RCC_HSI_DIV1;
  RCC_OscInitStruct.HSICalibrationValue = RCC_HSICALIBRATION_DEFAULT;
  RCC_OscInitStruct.PLL.PLLState = RCC_PLL_ON;
  RCC_OscInitStruct.PLL.PLLSource = RCC_PLLSOURCE_HSI;
  RCC_OscInitStruct.PLL.PLLM = 4;
  RCC_OscInitStruct.PLL.PLLN = 30;
  RCC_OscInitStruct.PLL.PLLP = 2;
  RCC_OscInitStruct.PLL.PLLQ = 4;
  RCC_OscInitStruct.PLL.PLLR = 2;
  RCC_OscInitStruct.PLL.PLLRGE = RCC_PLL1VCIRANGE_3;
  RCC_OscInitStruct.PLL.PLLVCOSEL = RCC_PLL1VCOWIDE;
  RCC_OscInitStruct.PLL.PLLFRACN = 0;
  if (HAL_RCC_OscConfig(&RCC_OscInitStruct) != HAL_OK)
  {
    Error_Handler();
  }

  /** Initializes the CPU, AHB and APB buses clocks
  */
  RCC_ClkInitStruct.ClockType = RCC_CLOCKTYPE_HCLK|RCC_CLOCKTYPE_SYSCLK
                              |RCC_CLOCKTYPE_PCLK1|RCC_CLOCKTYPE_PCLK2
                              |RCC_CLOCKTYPE_D3PCLK1|RCC_CLOCKTYPE_D1PCLK1;
  RCC_ClkInitStruct.SYSCLKSource = RCC_SYSCLKSOURCE_PLLCLK;
  RCC_ClkInitStruct.SYSCLKDivider = RCC_SYSCLK_DIV1;
  RCC_ClkInitStruct.AHBCLKDivider = RCC_HCLK_DIV1;
  RCC_ClkInitStruct.APB3CLKDivider = RCC_APB3_DIV2;
  RCC_ClkInitStruct.APB1CLKDivider = RCC_APB1_DIV2;
  RCC_ClkInitStruct.APB2CLKDivider = RCC_APB2_DIV2;
  RCC_ClkInitStruct.APB4CLKDivider = RCC_APB4_DIV2;

  if (HAL_RCC_ClockConfig(&RCC_ClkInitStruct, FLASH_LATENCY_4) != HAL_OK)
  {
    Error_Handler();
  }
}

static void MX_SPI1_Init(void)
{

  /* USER CODE BEGIN SPI1_Init 0 */
	LL_DMA_ConfigAddresses(DMA1, LL_DMA_STREAM_0, (uint32_t) spi1_tx_buffer,
			(uint32_t) &(SPI1->TXDR), LL_DMA_DIRECTION_MEMORY_TO_PERIPH);
	LL_DMA_ConfigAddresses(DMA1, LL_DMA_STREAM_1, (uint32_t) &(SPI1->RXDR),
			(uint32_t) spi1_rx_buffer, LL_DMA_DIRECTION_PERIPH_TO_MEMORY);

  /* USER CODE END SPI1_Init 0 */

  LL_SPI_InitTypeDef SPI_InitStruct = {0};

  LL_GPIO_InitTypeDef GPIO_InitStruct = {0};
  RCC_PeriphCLKInitTypeDef PeriphClkInitStruct = {0};

  /** Initializes the peripherals clock
  */
  PeriphClkInitStruct.PeriphClockSelection = RCC_PERIPHCLK_SPI1;
  PeriphClkInitStruct.Spi123ClockSelection = RCC_SPI123CLKSOURCE_PLL;
  if (HAL_RCCEx_PeriphCLKConfig(&PeriphClkInitStruct) != HAL_OK)
  {
    Error_Handler();
  }

  /* Peripheral clock enable */
  LL_APB2_GRP1_EnableClock(LL_APB2_GRP1_PERIPH_SPI1);

  LL_AHB4_GRP1_EnableClock(LL_AHB4_GRP1_PERIPH_GPIOA);
  LL_AHB4_GRP1_EnableClock(LL_AHB4_GRP1_PERIPH_GPIOB);
  /**SPI1 GPIO Configuration
  PA4   ------> SPI1_NSS
  PA5   ------> SPI1_SCK
  PA6   ------> SPI1_MISO
  PB5   ------> SPI1_MOSI
  */
  GPIO_InitStruct.Pin = LL_GPIO_PIN_4|LL_GPIO_PIN_5|LL_GPIO_PIN_6;
  GPIO_InitStruct.Mode = LL_GPIO_MODE_ALTERNATE;
  GPIO_InitStruct.Speed = LL_GPIO_SPEED_FREQ_LOW;
  GPIO_InitStruct.OutputType = LL_GPIO_OUTPUT_PUSHPULL;
  GPIO_InitStruct.Pull = LL_GPIO_PULL_NO;
  GPIO_InitStruct.Alternate = LL_GPIO_AF_5;
  LL_GPIO_Init(GPIOA, &GPIO_InitStruct);

  GPIO_InitStruct.Pin = LL_GPIO_PIN_5;
  GPIO_InitStruct.Mode = LL_GPIO_MODE_ALTERNATE;
  GPIO_InitStruct.Speed = LL_GPIO_SPEED_FREQ_LOW;
  GPIO_InitStruct.OutputType = LL_GPIO_OUTPUT_PUSHPULL;
  GPIO_InitStruct.Pull = LL_GPIO_PULL_NO;
  GPIO_InitStruct.Alternate = LL_GPIO_AF_5;
  LL_GPIO_Init(GPIOB, &GPIO_InitStruct);

  /* SPI1 DMA Init */

  /* SPI1_TX Init */
  LL_DMA_SetPeriphRequest(DMA1, LL_DMA_STREAM_0, LL_DMAMUX1_REQ_SPI1_TX);

  LL_DMA_SetDataTransferDirection(DMA1, LL_DMA_STREAM_0, LL_DMA_DIRECTION_MEMORY_TO_PERIPH);

  LL_DMA_SetStreamPriorityLevel(DMA1, LL_DMA_STREAM_0, LL_DMA_PRIORITY_LOW);

  LL_DMA_SetMode(DMA1, LL_DMA_STREAM_0, LL_DMA_MODE_NORMAL);

  LL_DMA_SetPeriphIncMode(DMA1, LL_DMA_STREAM_0, LL_DMA_PERIPH_NOINCREMENT);

  LL_DMA_SetMemoryIncMode(DMA1, LL_DMA_STREAM_0, LL_DMA_MEMORY_INCREMENT);

  LL_DMA_SetPeriphSize(DMA1, LL_DMA_STREAM_0, LL_DMA_PDATAALIGN_WORD);

  LL_DMA_SetMemorySize(DMA1, LL_DMA_STREAM_0, LL_DMA_MDATAALIGN_WORD);

  LL_DMA_EnableFifoMode(DMA1, LL_DMA_STREAM_0);

  LL_DMA_SetFIFOThreshold(DMA1, LL_DMA_STREAM_0, LL_DMA_FIFOTHRESHOLD_FULL);

  LL_DMA_SetMemoryBurstxfer(DMA1, LL_DMA_STREAM_0, LL_DMA_MBURST_SINGLE);

  LL_DMA_SetPeriphBurstxfer(DMA1, LL_DMA_STREAM_0, LL_DMA_PBURST_SINGLE);

  /* SPI1_RX Init */
  LL_DMA_SetPeriphRequest(DMA1, LL_DMA_STREAM_1, LL_DMAMUX1_REQ_SPI1_RX);

  LL_DMA_SetDataTransferDirection(DMA1, LL_DMA_STREAM_1, LL_DMA_DIRECTION_PERIPH_TO_MEMORY);

  LL_DMA_SetStreamPriorityLevel(DMA1, LL_DMA_STREAM_1, LL_DMA_PRIORITY_LOW);

  LL_DMA_SetMode(DMA1, LL_DMA_STREAM_1, LL_DMA_MODE_NORMAL);

  LL_DMA_SetPeriphIncMode(DMA1, LL_DMA_STREAM_1, LL_DMA_PERIPH_NOINCREMENT);

  LL_DMA_SetMemoryIncMode(DMA1, LL_DMA_STREAM_1, LL_DMA_MEMORY_INCREMENT);

  LL_DMA_SetPeriphSize(DMA1, LL_DMA_STREAM_1, LL_DMA_PDATAALIGN_WORD);

  LL_DMA_SetMemorySize(DMA1, LL_DMA_STREAM_1, LL_DMA_MDATAALIGN_WORD);

  LL_DMA_EnableFifoMode(DMA1, LL_DMA_STREAM_1);

  LL_DMA_SetFIFOThreshold(DMA1, LL_DMA_STREAM_1, LL_DMA_FIFOTHRESHOLD_FULL);

  LL_DMA_SetMemoryBurstxfer(DMA1, LL_DMA_STREAM_1, LL_DMA_MBURST_SINGLE);

  LL_DMA_SetPeriphBurstxfer(DMA1, LL_DMA_STREAM_1, LL_DMA_PBURST_SINGLE);

  /* SPI1 interrupt Init */
  NVIC_SetPriority(SPI1_IRQn, NVIC_EncodePriority(NVIC_GetPriorityGrouping(),5, 0));
  NVIC_EnableIRQ(SPI1_IRQn);

  /* SPI1 parameter configuration*/
  SPI_InitStruct.TransferDirection = LL_SPI_FULL_DUPLEX;
  SPI_InitStruct.Mode = LL_SPI_MODE_MASTER;
  SPI_InitStruct.DataWidth = LL_SPI_DATAWIDTH_24BIT;
  SPI_InitStruct.ClockPolarity = LL_SPI_POLARITY_LOW;
  SPI_InitStruct.ClockPhase = LL_SPI_PHASE_2EDGE;
  SPI_InitStruct.NSS = LL_SPI_NSS_HARD_OUTPUT;
  SPI_InitStruct.BaudRate = LL_SPI_BAUDRATEPRESCALER_DIV4;
  SPI_InitStruct.BitOrder = LL_SPI_MSB_FIRST;
  SPI_InitStruct.CRCCalculation = LL_SPI_CRCCALCULATION_DISABLE;
  SPI_InitStruct.CRCPoly = 0x0;
  LL_SPI_Init(SPI1, &SPI_InitStruct);
  LL_SPI_SetStandard(SPI1, LL_SPI_PROTOCOL_MOTOROLA);
  LL_SPI_SetFIFOThreshold(SPI1, LL_SPI_FIFO_TH_01DATA);
  LL_SPI_EnableNSSPulseMgt(SPI1);
  /* USER CODE BEGIN SPI1_Init 2 */
  LL_SPI_SetMasterSSIdleness(SPI1, LL_SPI_ID_IDLENESS_03CYCLE);
  /* USER CODE END SPI1_Init 2 */

}

static void MX_TIM2_Init(void)
{

  TIM_ClockConfigTypeDef sClockSourceConfig = {0};
  TIM_MasterConfigTypeDef sMasterConfig = {0};

  htim2.Instance = TIM2;
  htim2.Init.Prescaler = 0;
  htim2.Init.CounterMode = TIM_COUNTERMODE_UP;
  htim2.Init.Period = 240000-1;
  htim2.Init.ClockDivision = TIM_CLOCKDIVISION_DIV1;
  htim2.Init.AutoReloadPreload = TIM_AUTORELOAD_PRELOAD_DISABLE;
  if (HAL_TIM_Base_Init(&htim2) != HAL_OK)
  {
    Error_Handler();
  }
  sClockSourceConfig.ClockSource = TIM_CLOCKSOURCE_INTERNAL;
  if (HAL_TIM_ConfigClockSource(&htim2, &sClockSourceConfig) != HAL_OK)
  {
    Error_Handler();
  }
  sMasterConfig.MasterOutputTrigger = TIM_TRGO_RESET;
  sMasterConfig.MasterSlaveMode = TIM_MASTERSLAVEMODE_DISABLE;
  if (HAL_TIMEx_MasterConfigSynchronization(&htim2, &sMasterConfig) != HAL_OK)
  {
    Error_Handler();
  }

}

static void MX_USART3_UART_Init(void)
{

  huart3.Instance = USART3;
  huart3.Init.BaudRate = 115200;
  huart3.Init.WordLength = UART_WORDLENGTH_8B;
  huart3.Init.StopBits = UART_STOPBITS_1;
  huart3.Init.Parity = UART_PARITY_NONE;
  huart3.Init.Mode = UART_MODE_TX_RX;
  huart3.Init.HwFlowCtl = UART_HWCONTROL_NONE;
  huart3.Init.OverSampling = UART_OVERSAMPLING_16;
  huart3.Init.OneBitSampling = UART_ONE_BIT_SAMPLE_DISABLE;
  huart3.Init.ClockPrescaler = UART_PRESCALER_DIV1;
  huart3.AdvancedInit.AdvFeatureInit = UART_ADVFEATURE_NO_INIT;
  if (HAL_UART_Init(&huart3) != HAL_OK)
  {
    Error_Handler();
  }
  if (HAL_UARTEx_SetTxFifoThreshold(&huart3, UART_TXFIFO_THRESHOLD_1_8) != HAL_OK)
  {
    Error_Handler();
  }
  if (HAL_UARTEx_SetRxFifoThreshold(&huart3, UART_RXFIFO_THRESHOLD_1_8) != HAL_OK)
  {
    Error_Handler();
  }
  if (HAL_UARTEx_DisableFifoMode(&huart3) != HAL_OK)
  {
    Error_Handler();
  }

}

static void MX_DMA_Init(void)
{

  /* DMA controller clock enable */
  __HAL_RCC_DMA1_CLK_ENABLE();

  /* DMA interrupt init */
  /* DMA1_Stream0_IRQn interrupt configuration */
  NVIC_SetPriority(DMA1_Stream0_IRQn, NVIC_EncodePriority(NVIC_GetPriorityGrouping(),0, 0));
  NVIC_EnableIRQ(DMA1_Stream0_IRQn);
  /* DMA1_Stream1_IRQn interrupt configuration */
  NVIC_SetPriority(DMA1_Stream1_IRQn, NVIC_EncodePriority(NVIC_GetPriorityGrouping(),0, 0));
  NVIC_EnableIRQ(DMA1_Stream1_IRQn);

}

static void MX_GPIO_Init(void)
{
  GPIO_InitTypeDef GPIO_InitStruct = {0};

  /* GPIO Ports Clock Enable */
  __HAL_RCC_GPIOC_CLK_ENABLE();
  __HAL_RCC_GPIOH_CLK_ENABLE();
  __HAL_RCC_GPIOA_CLK_ENABLE();
  __HAL_RCC_GPIOB_CLK_ENABLE();
  __HAL_RCC_GPIOD_CLK_ENABLE();
  __HAL_RCC_GPIOG_CLK_ENABLE();

  /*Configure GPIO pin Output Level */
  HAL_GPIO_WritePin(LED0_GPIO_Port, LED0_Pin, GPIO_PIN_RESET);

  /*Configure GPIO pin : LED0_Pin */
  GPIO_InitStruct.Pin = LED0_Pin;
  GPIO_InitStruct.Mode = GPIO_MODE_OUTPUT_PP;
  GPIO_InitStruct.Pull = GPIO_NOPULL;
  GPIO_InitStruct.Speed = GPIO_SPEED_FREQ_LOW;
  HAL_GPIO_Init(LED0_GPIO_Port, &GPIO_InitStruct);

}

/* USER CODE BEGIN 4 */

/**
 * @brief Initializes the DAC80508 by writing directly to its configuration registers.
 * * @param config Pointer to the configuration structure.
 * @param tx_buffer Pointer to the SPI transmit buffer used by the SPI driver.
 * @return int 0 on success, or a non-zero error code from spi_write.
 */
int DAC80508_init(const struct DAC80508_Config *config, uint32_t *tx_buffer) {
    if (!config || !tx_buffer) return -1;

	/* Clear the SPI buffers of old values */
	memset(spi1_tx_buffer,0,SPI_BUFFER_SIZE_BYTES);
	memset(spi1_rx_buffer,0,SPI_BUFFER_SIZE_BYTES);

    char msg[80]={0};
    spi_msg_size = 0;
    int index = 0;

	/* verify device settings*/
    index += DAC80508_read_reg(DAC80508_REG_DEVICE_ID, &tx_buffer[index]);

    /* Write SYNC Register (0x02)
     * Determines which channels update synchronously with LDAC.
     */
    index += DAC80508_write_reg(DAC80508_REG_SYNC, config->sync_mask, &tx_buffer[index]);

    /* Write CONFIG Register (0x03)
     * Bit 8: REF_PWDWN (0 = Internal Ref ON, 1 = Internal Ref OFF)
     */
    uint16_t config_val = 0x0000;
    if (!config->use_internal_ref) {
        config_val |= (1 << 8); // Power down internal reference
    }
    index += DAC80508_write_reg(DAC80508_REG_CONFIG, config_val, &tx_buffer[index]);

    /* Write GAIN Register (0x04)
     * Bit 8: REF_DIV (0 = Ref not divided, 1 = Ref divided by 2)
     * Bits 0-7: GAIN for each channel (0 = Gain of 1, 1 = Gain of 2)
     */
    uint16_t gain_val = 0x0000;
    if (config->div_internal_ref) {
        gain_val |= (1 << 8);
    }
    gain_val |= config->channel_gain_mask;
    index += DAC80508_write_reg(DAC80508_REG_GAIN, gain_val, &tx_buffer[index]);

    /* Set DACs to midpoint
     * value = 2^16/2
     * */
    index += DAC80508_write_reg(DAC80508_REG_BROADCAST, 16000, &tx_buffer[index]);

    index += DAC80508_write_reg(DAC80508_REG_NOP, 0x000000, &tx_buffer[index]);

    spi_msg_size = index;

	sprintf(msg, "Initializing DAC %lu frames via SPI1\r\n", spi_msg_size);
	print_uart3(msg);
	SPI1_DMA_txfer();
	while(spi_txfer_complete == 0){
		;
	}
	sprintf(msg, "DAC SPI RX returned:\r\n");
	print_uart3(msg);
	for(int i=0; i< spi_msg_size; i++){
		sprintf(msg,"[0x%06lX]\r\n", spi1_rx_buffer[i]);
		print_uart3(msg);
	}

	spi_txfer_complete = 0;

    return 0; // All initialization steps succeeded
}

int DAC80508_verify(uint32_t *tx_buffer){
	char msg[80]={0};
	spi_msg_size = 0;
	int index = 0;

	/* Clear the SPI buffers of old values */
	memset(spi1_tx_buffer,0,SPI_BUFFER_SIZE_BYTES);
	memset(spi1_rx_buffer,0,SPI_BUFFER_SIZE_BYTES);

    index += DAC80508_read_reg(DAC80508_REG_SYNC, &tx_buffer[index]);

    index += DAC80508_read_reg(DAC80508_REG_CONFIG, &tx_buffer[index]);

    index += DAC80508_read_reg(DAC80508_REG_GAIN, &tx_buffer[index]);
    spi_msg_size = index;

	sprintf(msg, "Verifying DAC frames via SPI1\r\n");
	print_uart3(msg);
	SPI1_DMA_txfer();
	while(spi_txfer_complete == 0){
		;
	}

	sprintf(msg, "DAC config verification:\r\n");
	print_uart3(msg);
	for(int i=0; i< spi_msg_size; i++){
		sprintf(msg,"[0x%06lX]\r\n", spi1_rx_buffer[i]);
		print_uart3(msg);
	}

	spi_txfer_complete = 0;
	return 0;

}

/**
 * @brief Formats 8 consecutive SPI frames to update all DAC channels.
 * @param value_array Pointer to 8 uint16_t values.
 * @param tx_buffer Buffer to hold 24 bytes (8 channels * 3 bytes).
 */
int DAC80508_set_outputs(uint16_t *value_array, uint32_t *tx_buffer) {
    if (!tx_buffer || !value_array) return -1;

    int i=0;
    spi_msg_size = 0;

    for (i = 0; i < DAC80508_NUM_CHANNELS; i++) {
        /* Calculate register address for each channel (0x08 to 0x0F) */
        uint8_t reg = DAC80508_REG_DAC0 + (uint8_t)i;
        DAC80508_write_reg(reg, value_array[i], &tx_buffer[i]);
    }
    /* send trigger */
    DAC80508_write_reg(DAC80508_REG_TRIGGER, 0X10, &tx_buffer[i]);
    spi_msg_size = i + 1;

    return 0;
}

/**
 * @brief broadcast the same value to all outputs.
 * @param value: uint16_t values.
 * @param tx_buffer: SPI transmit buffer.
 */
int DAC80508_broadcast_verify(uint16_t value, uint32_t *tx_buffer){
	int i=0;
	spi_msg_size = 0;

	i+=DAC80508_write_reg(DAC80508_REG_BROADCAST, value, &tx_buffer[i]);
	i+=DAC80508_read_reg(DAC80508_REG_DEVICE_ID, &tx_buffer[i]);
	spi_msg_size = i;
	return 0;
}

void deserialize_command(const uint8_t *buffer, command_t *out_cmd) {
    const uint8_t *ptr = buffer;

    /* Protocol version */
    out_cmd->version = *ptr++;

    /* Timestamp (seconds, nanoseconds, 8 bytes)--provide a timing mark and ID for the host */
    uint32_t ts_net_sec;
    memcpy(&ts_net_sec, ptr, sizeof(ts_net_sec));
    out_cmd->seconds = ntohl(ts_net_sec); // Network to Host Long
    ptr += sizeof(ts_net_sec);

    uint32_t ts_net_nsec;
    memcpy(&ts_net_nsec, ptr, sizeof(ts_net_nsec));
    out_cmd->nanoseconds = ntohl(ts_net_nsec); // Network to Host Long
    ptr += sizeof(ts_net_nsec);

    /* Frames--data */
    for (int i = 0; i < DAC80508_NUM_CHANNELS; i++) {
        out_cmd->frame[i].reg = *ptr++;

        uint16_t data_net;
        memcpy(&data_net, ptr, 2);
        out_cmd->frame[i].data = ntohs(data_net); // Network to Host Short
        ptr += 2;
    }

    /* End bytes--signal EOM */
    uint16_t end_net;
    memcpy(&end_net, ptr, 2);
    out_cmd->end = ntohs(end_net);
    ptr+=2;

#ifdef TESTING
    char msg[100] = {0};
    sprintf(msg, "Protocol version %d\r\n", out_cmd->version);
    print_uart3(msg);
    sprintf(msg, "Timestamp.sec = %lu\r\n", out_cmd->seconds);
    print_uart3(msg);
    sprintf(msg, "Timestamp.nsec = %09lu\r\n", out_cmd->nanoseconds);
    print_uart3(msg);

    for (int i = 0; i < DAC80508_NUM_CHANNELS; i++) {
        sprintf(msg, "cmd: = %d\r\n", out_cmd->frame[i].data);
        print_uart3(msg);

    }
    sprintf(msg, "End bytes = %d\r\n", out_cmd->end);
    print_uart3(msg);

#endif
}

void udp_receive_callback(void *arg, // User argument - udp_recv `arg` parameter
		struct udp_pcb *upcb,   // Receiving Protocol Control Block
		struct pbuf *p,         // Pointer to Datagram
		const ip_addr_t *addr,  // Address of sender
		u16_t port) {

	char msg[100] = {0};

	uint16_t vals[DAC80508_NUM_CHANNELS] = {0};
	command_t out_cmd;

	start = sys_time();
	/* Process the data */
	uint16_t udp_size = p->len;
	if(udp_size != UDP_LENGTH){
		sprintf(msg, "Buffer size incorrect. Received %d, expected %d\r\n", udp_size, UDP_LENGTH);
		print_uart3(msg);
		return;
	}

	/* Clear the SPI buffers of old values */
	memset(spi1_tx_buffer,0,SPI_BUFFER_SIZE_BYTES);
	memset(spi1_rx_buffer,0,SPI_BUFFER_SIZE_BYTES);

	/* Parse the values */
	deserialize_command(p->payload, &out_cmd);

	/* Verify end bytes as data corruption check */
	if(out_cmd.end != 0XDEAD){
		sprintf(msg,"End bytes don't match 0X%X != 0XDEAD \r\n", out_cmd.end);
		print_uart3(msg);
		return;
	}

	/* verify the output command */
#ifdef TESTING
	sprintf(msg,"Received command at timestamp: %lu.%09lu\r\n", out_cmd.seconds, out_cmd.nanoseconds);
	print_uart3(msg);
#endif

	for(int i=0; i<DAC80508_NUM_CHANNELS;i++){
		vals[i] = out_cmd.frame[i].data;
	}

	/* populate the SPI message with the registers and values */
#ifdef TESTING
	DAC80508_broadcast_verify(vals[0], spi1_tx_buffer);
	sprintf(msg,"value sent: %d \r\n", vals[0]);
	print_uart3(msg);
#else
	DAC80508_set_outputs(vals, spi1_tx_buffer);
#endif

	// signal main to initiate SPI transfer
	spi_data_ready = 1;
	end = sys_time();
	pbuf_free(p);
}

uint32_t sys_time(void) {
	uint32_t current = sys_time_ms * 1000 + (TIM2->CNT) / 240;
	return (current); // current time in microseconds

}

/**************************************************************/
void SPI1_DMA_txfer(void) {
    // Disable SPI to allow configuration of TSIZE
    LL_SPI_Disable(SPI1);

    // Clear SPI Flags
    LL_SPI_ClearFlag_EOT(SPI1);
    LL_SPI_ClearFlag_TXTF(SPI1);
    LL_SPI_ClearFlag_OVR(SPI1);
    LL_SPI_ClearFlag_UDR(SPI1);

    // Cache Maintenance: Push TX buffer to RAM
    SCB_CleanDCache_by_Addr((uint32_t*) spi1_tx_buffer, SPI_BUFFER_SIZE_BYTES);

    // Reset DMA Streams
    LL_DMA_DisableStream(DMA1, LL_DMA_STREAM_0);
    LL_DMA_DisableStream(DMA1, LL_DMA_STREAM_1);
    while (LL_DMA_IsEnabledStream(DMA1, LL_DMA_STREAM_0));
    while (LL_DMA_IsEnabledStream(DMA1, LL_DMA_STREAM_1));

    // Clear ALL DMA flags (including errors!)
    // For DMA1 Stream 0 and 1 (Lower Interrupt Flag Clear Register)
    DMA1->LIFCR = 0x0000003FU << 0;  // Stream 0
    DMA1->LIFCR = 0x0000003FU << 6;  // Stream 1

    // Set Addresses and Lengths
	LL_DMA_ConfigAddresses(DMA1, LL_DMA_STREAM_0, (uint32_t) spi1_tx_buffer,
			(uint32_t) &(SPI1->TXDR), LL_DMA_DIRECTION_MEMORY_TO_PERIPH);
	LL_DMA_ConfigAddresses(DMA1, LL_DMA_STREAM_1, (uint32_t) &(SPI1->RXDR),
			(uint32_t) spi1_rx_buffer, LL_DMA_DIRECTION_PERIPH_TO_MEMORY);

    LL_DMA_SetDataLength(DMA1, LL_DMA_STREAM_0, spi_msg_size);
    LL_DMA_SetDataLength(DMA1, LL_DMA_STREAM_1, spi_msg_size);

    // Enable Streams (RX first)
    LL_DMA_EnableStream(DMA1, LL_DMA_STREAM_1);
    LL_DMA_EnableStream(DMA1, LL_DMA_STREAM_0);

    // Configure SPI
    LL_SPI_SetTransferSize(SPI1, spi_msg_size);
    LL_SPI_EnableDMAReq_RX(SPI1);
    LL_SPI_EnableDMAReq_TX(SPI1);
    LL_DMA_EnableIT_TC(DMA1, LL_DMA_STREAM_1);

    // Clean FIFO and Enable
    while (LL_SPI_IsActiveFlag_RXP(SPI1)) {
        (void)SPI1->RXDR;
    }

    LL_SPI_Enable(SPI1);

    LL_SPI_StartMasterTransfer(SPI1);

#ifdef TESTING
    char msg[50];
    sprintf(msg, "SPI DMA Transfer initiated\r\n");
    print_uart3(msg);
#endif
}

/* USER CODE END 4 */

 /* MPU Configuration */

void MPU_Config(void)
{
  MPU_Region_InitTypeDef MPU_InitStruct = {0};

  /* Disables the MPU */
  HAL_MPU_Disable();

  /** Initializes and configures the Region and the memory to be protected
  */
  MPU_InitStruct.Enable = MPU_REGION_ENABLE;
  MPU_InitStruct.Number = MPU_REGION_NUMBER0;
  MPU_InitStruct.BaseAddress = 0x0;
  MPU_InitStruct.Size = MPU_REGION_SIZE_4GB;
  MPU_InitStruct.SubRegionDisable = 0x87;
  MPU_InitStruct.TypeExtField = MPU_TEX_LEVEL0;
  MPU_InitStruct.AccessPermission = MPU_REGION_NO_ACCESS;
  MPU_InitStruct.DisableExec = MPU_INSTRUCTION_ACCESS_DISABLE;
  MPU_InitStruct.IsShareable = MPU_ACCESS_SHAREABLE;
  MPU_InitStruct.IsCacheable = MPU_ACCESS_NOT_CACHEABLE;
  MPU_InitStruct.IsBufferable = MPU_ACCESS_NOT_BUFFERABLE;

  HAL_MPU_ConfigRegion(&MPU_InitStruct);

  /** Initializes and configures the Region and the memory to be protected
  */
  MPU_InitStruct.Number = MPU_REGION_NUMBER1;
  MPU_InitStruct.BaseAddress = 0x30020000;
  MPU_InitStruct.Size = MPU_REGION_SIZE_128KB;
  MPU_InitStruct.SubRegionDisable = 0x0;
  MPU_InitStruct.TypeExtField = MPU_TEX_LEVEL1;
  MPU_InitStruct.AccessPermission = MPU_REGION_FULL_ACCESS;
  MPU_InitStruct.IsShareable = MPU_ACCESS_NOT_SHAREABLE;

  HAL_MPU_ConfigRegion(&MPU_InitStruct);

  /** Initializes and configures the Region and the memory to be protected
  */
  MPU_InitStruct.Number = MPU_REGION_NUMBER2;
  MPU_InitStruct.BaseAddress = 0x30040000;
  MPU_InitStruct.Size = MPU_REGION_SIZE_512B;
  MPU_InitStruct.TypeExtField = MPU_TEX_LEVEL0;
  MPU_InitStruct.IsShareable = MPU_ACCESS_SHAREABLE;
  MPU_InitStruct.IsBufferable = MPU_ACCESS_BUFFERABLE;

  HAL_MPU_ConfigRegion(&MPU_InitStruct);
  /* Enables the MPU */
  HAL_MPU_Enable(MPU_PRIVILEGED_DEFAULT);

}

void HAL_TIM_PeriodElapsedCallback(TIM_HandleTypeDef *htim)
{
  if (htim->Instance == TIM6)
  {
    HAL_IncTick();
  }
}

void Error_Handler(void)
{
  __disable_irq();
  while (1)
  {
  }
}
